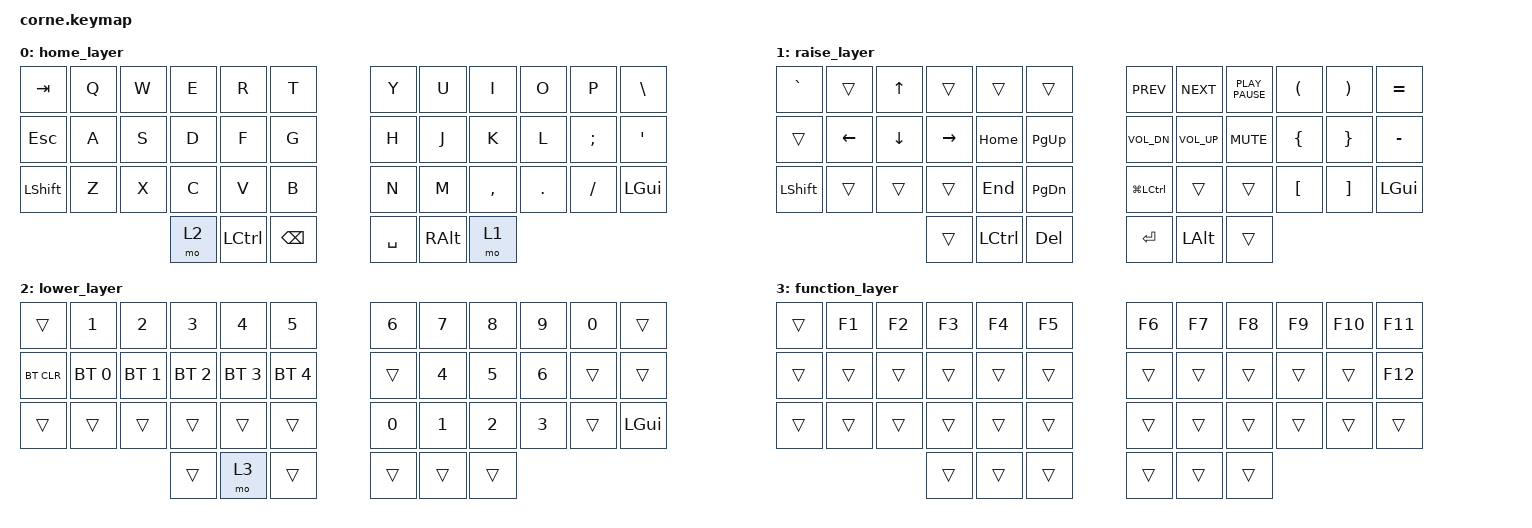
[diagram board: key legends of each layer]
#include <behaviors.dtsi>
#include <dt-bindings/zmk/bt.h>
#include <dt-bindings/zmk/keys.h>

/ {
    keymap {
        compatible = "zmk,keymap";

        home_layer {
            bindings = <
  &kp TAB  &kp Q  &kp W  &kp E      &kp R     &kp T        &kp Y     &kp U      &kp I    &kp O     &kp P      &kp BSLH
  &kp ESC  &kp A  &kp S  &kp D      &kp F     &kp G        &kp H     &kp J      &kp K    &kp L  &kp SEMI       &kp SQT
&kp LSHFT  &kp Z  &kp X  &kp C      &kp V     &kp B        &kp N     &kp M  &kp COMMA  &kp DOT  &kp FSLH  &kp LEFT_GUI
                         &mo 2  &kp LCTRL  &kp BSPC    &kp SPACE  &kp RALT      &mo 1
            >;
        };

        raise_layer {
            bindings = <
&kp GRAVE    &trans  &kp UP_ARROW     &trans            &trans         &trans              &kp K_PREV    &kp K_NEXT  &kp K_PLAY_PAUSE          &kp LPAR           &kp RPAR     &kp EQUAL
   &trans  &kp LEFT      &kp DOWN  &kp RIGHT          &kp HOME    &kp PAGE_UP            &kp C_VOL_DN  &kp C_VOL_UP        &kp K_MUTE    &kp LEFT_BRACE    &kp RIGHT_BRACE     &kp MINUS
&kp LSHFT    &trans        &trans     &trans           &kp END  &kp PAGE_DOWN    &kp LG(LEFT_CONTROL)        &trans            &trans  &kp LEFT_BRACKET  &kp RIGHT_BRACKET  &kp LEFT_GUI
                                      &trans  &kp LEFT_CONTROL        &kp DEL               &kp ENTER  &kp LEFT_ALT            &trans
            >;
        };

        lower_layer {
            bindings = <
    &trans        &kp N1        &kp N2        &kp N3        &kp N4        &kp N5          &kp N6  &kp N7  &kp N8  &kp N9  &kp N0        &trans
&bt BT_CLR  &bt BT_SEL 0  &bt BT_SEL 1  &bt BT_SEL 2  &bt BT_SEL 3  &bt BT_SEL 4          &trans  &kp N4  &kp N5  &kp N6  &trans        &trans
    &trans        &trans        &trans        &trans        &trans        &trans    &kp NUMBER_0  &kp N1  &kp N2  &kp N3  &trans  &kp LEFT_GUI
                                              &trans         &mo 3        &trans          &trans  &trans  &trans
            >;
        };

        function_layer {
            bindings = <
&trans  &kp F1  &kp F2  &kp F3  &kp F4  &kp F5    &kp F6  &kp F7  &kp F8  &kp F9  &kp F10  &kp F11
&trans  &trans  &trans  &trans  &trans  &trans    &trans  &trans  &trans  &trans   &trans  &kp F12
&trans  &trans  &trans  &trans  &trans  &trans    &trans  &trans  &trans  &trans   &trans   &trans
                        &trans  &trans  &trans    &trans  &trans  &trans
            >;
        };
    };
};

